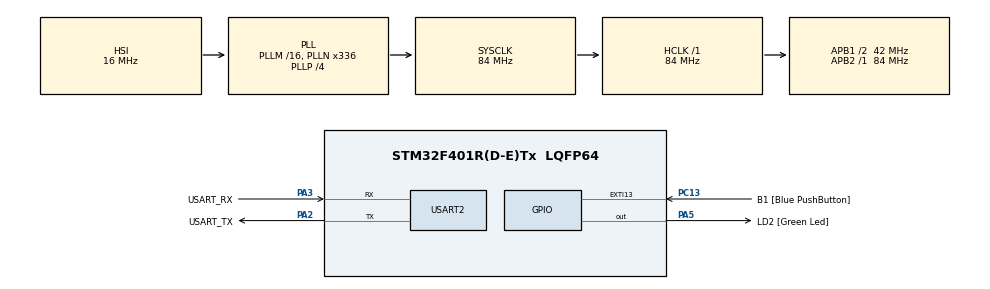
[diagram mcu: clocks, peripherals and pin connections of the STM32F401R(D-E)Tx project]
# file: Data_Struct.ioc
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Mcu.Family=STM32F4
Mcu.Name=STM32F401R(D-E)Tx
Mcu.Package=LQFP64
NVIC.PriorityGroup=NVIC_PRIORITYGROUP_0
NVIC.USART2_IRQn=true\:0\:0\:false\:false\:true
PA13.GPIO_Label=TMS
PA13.Signal=SYS_JTMS-SWDIO
PA14.GPIO_Label=TCK
PA14.Signal=SYS_JTCK-SWCLK
PA2.GPIO_Label=USART_TX
PA2.GPIO_Mode=GPIO_MODE_AF_PP
PA2.GPIO_PuPd=GPIO_NOPULL
PA2.GPIO_Speed=GPIO_SPEED_FREQ_LOW
PA2.Mode=Multiprocessor_communication
PA2.Signal=USART2_TX
PA3.GPIO_Label=USART_RX
PA3.GPIO_Mode=GPIO_MODE_AF_PP
PA3.GPIO_PuPd=GPIO_NOPULL
PA3.GPIO_Speed=GPIO_SPEED_FREQ_LOW
PA3.Mode=Multiprocessor_communication
PA3.Signal=USART2_RX
PA5.GPIO_Label=LD2 [Green Led]
PA5.GPIO_Mode=GPIO_MODE_OUTPUT_PP
PA5.GPIO_PuPd=GPIO_NOPULL
PA5.GPIO_Speed=GPIO_SPEED_FREQ_LOW
PA5.Signal=GPIO_Output
PB3.GPIO_Label=SWO
PB3.Signal=SYS_JTDO-SWO
PC13-ANTI_TAMP.GPIO_Label=B1 [Blue PushButton]
PC13-ANTI_TAMP.GPIO_ModeDefaultEXTI=GPIO_MODE_IT_FALLING
PC13-ANTI_TAMP.GPIO_PuPd=GPIO_NOPULL
PC13-ANTI_TAMP.Signal=GPXTI13
PC14-OSC32_IN.Signal=RCC_OSC32_IN
PC15-OSC32_OUT.Signal=RCC_OSC32_OUT
PH0\ -\ OSC_IN.Signal=RCC_OSC_IN
PH1\ -\ OSC_OUT.Signal=RCC_OSC_OUT
ProjectManager.HeapSize=0x200
ProjectManager.StackSize=0x400
ProjectManager.TargetToolchain=MDK-ARM V5
RCC.AHBFreq_Value=84000000
RCC.APB1CLKDivider=RCC_HCLK_DIV2
RCC.APB1Freq_Value=42000000
RCC.APB1TimFreq_Value=84000000
RCC.APB2Freq_Value=84000000
RCC.APB2TimFreq_Value=84000000
RCC.CortexFreq_Value=84000000
RCC.HCLKFreq_Value=84000000
RCC.HSE_VALUE=8000000
RCC.HSI_VALUE=16000000
RCC.LSE_VALUE=32768
RCC.PLLN=336
RCC.PLLP=RCC_PLLP_DIV4
RCC.PLLQ=7
RCC.SYSCLKFreq_VALUE=84000000
RCC.SYSCLKSource=RCC_SYSCLKSOURCE_PLLCLK
RCC.VCOOutputFreq_Value=336000000
USART2.VirtualMode=VM_ASYNC
board=NUCLEO-F401RE

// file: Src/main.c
/**
  ******************************************************************************
  * File Name          : main.c
  * Description        : Main program body
  ******************************************************************************
  ** This notice applies to any and all portions of this file
  * that are not between comment pairs USER CODE BEGIN and
  * USER CODE END. Other portions of this file, whether
  * inserted by the user or by software development tools
  * are owned by their respective copyright owners.
  *
  * COPYRIGHT(c) 2017 STMicroelectronics
  *
  * Redistribution and use in source and binary forms, with or without modification,
  * are permitted provided that the following conditions are met:
  *   1. Redistributions of source code must retain the above copyright notice,
  *      this list of conditions and the following disclaimer.
  *   2. Redistributions in binary form must reproduce the above copyright notice,
  *      this list of conditions and the following disclaimer in the documentation
  *      and/or other materials provided with the distribution.
  *   3. Neither the name of STMicroelectronics nor the names of its contributors
  *      may be used to endorse or promote products derived from this software
  *      without specific prior written permission.
  *
  * THIS SOFTWARE IS PROVIDED BY THE COPYRIGHT HOLDERS AND CONTRIBUTORS "AS IS"
  * AND ANY EXPRESS OR IMPLIED WARRANTIES, INCLUDING, BUT NOT LIMITED TO, THE
  * IMPLIED WARRANTIES OF MERCHANTABILITY AND FITNESS FOR A PARTICULAR PURPOSE ARE
  * DISCLAIMED. IN NO EVENT SHALL THE COPYRIGHT HOLDER OR CONTRIBUTORS BE LIABLE
  * FOR ANY DIRECT, INDIRECT, INCIDENTAL, SPECIAL, EXEMPLARY, OR CONSEQUENTIAL
  * DAMAGES (INCLUDING, BUT NOT LIMITED TO, PROCUREMENT OF SUBSTITUTE GOODS OR
  * SERVICES; LOSS OF USE, DATA, OR PROFITS; OR BUSINESS INTERRUPTION) HOWEVER
  * CAUSED AND ON ANY THEORY OF LIABILITY, WHETHER IN CONTRACT, STRICT LIABILITY,
  * OR TORT (INCLUDING NEGLIGENCE OR OTHERWISE) ARISING IN ANY WAY OUT OF THE USE
  * OF THIS SOFTWARE, EVEN IF ADVISED OF THE POSSIBILITY OF SUCH DAMAGE.
  *
  ******************************************************************************
  */
#include "main.h"
#include "stm32f4xx_hal.h"

/* USER CODE BEGIN Includes */
#include "sys.h"
#include "data_struct.h"
#include "receive_handle.h"
#include "cmd_control.h"
/* USER CODE END Includes */

UART_HandleTypeDef huart2;
SqList L1,L2,L3;

extern SqList List;

/* USER CODE BEGIN PV */
/* Private variables ---------------------------------------------------------*/

/* USER CODE END PV */

void SystemClock_Config(void);
static void MX_GPIO_Init(void);
static void MX_USART2_UART_Init(void);

/* USER CODE BEGIN PFP */
/* Private function prototypes -----------------------------------------------*/

/* USER CODE END PFP */

int main(void)
{

  /* MCU Configuration----------------------------------------------------------*/

  /* Reset of all peripherals, Initializes the Flash interface and the Systick. */
  HAL_Init();

  /* Configure the system clock */
  SystemClock_Config();

  /* Initialize all configured peripherals */
  MX_GPIO_Init();
  MX_USART2_UART_Init();

  /* USER CODE BEGIN 2 */
	__HAL_UART_ENABLE_IT(&huart2, UART_IT_RXNE);    //打开USART2中断时钟
  printf("\
		 \r\n----------------------------------------\
	   \r\n* This is a project to learn           *\
		 \r\n* data_struct  of stm32f401            *\
		 \r\n----------------------------------------\
		 \r\n\
		    ");
  /* USER CODE END 2 */

  /* Infinite loop */
  /* USER CODE BEGIN WHILE */
	CommCtrlInit();
	InitList_Sq(&L1);
	InitList_Sq(&L2);

  while (1)
  {
  /* USER CODE END WHILE */
  DataReceiveSyntaxHandle(0x02);
  }

}

/** System Clock Configuration
*/
void SystemClock_Config(void)
{

  RCC_OscInitTypeDef RCC_OscInitStruct;
  RCC_ClkInitTypeDef RCC_ClkInitStruct;

    /**Configure the main internal regulator output voltage
    */
  __HAL_RCC_PWR_CLK_ENABLE();

  __HAL_PWR_VOLTAGESCALING_CONFIG(PWR_REGULATOR_VOLTAGE_SCALE2);

    /**Initializes the CPU, AHB and APB busses clocks
    */
  RCC_OscInitStruct.OscillatorType = RCC_OSCILLATORTYPE_HSI;
  RCC_OscInitStruct.HSIState = RCC_HSI_ON;
  RCC_OscInitStruct.HSICalibrationValue = 16;
  RCC_OscInitStruct.PLL.PLLState = RCC_PLL_ON;
  RCC_OscInitStruct.PLL.PLLSource = RCC_PLLSOURCE_HSI;
  RCC_OscInitStruct.PLL.PLLM = 16;
  RCC_OscInitStruct.PLL.PLLN = 336;
  RCC_OscInitStruct.PLL.PLLP = RCC_PLLP_DIV4;
  RCC_OscInitStruct.PLL.PLLQ = 7;
  if (HAL_RCC_OscConfig(&RCC_OscInitStruct) != HAL_OK)
  {
    _Error_Handler(__FILE__, __LINE__);
  }

    /**Initializes the CPU, AHB and APB busses clocks
    */
  RCC_ClkInitStruct.ClockType = RCC_CLOCKTYPE_HCLK|RCC_CLOCKTYPE_SYSCLK
                              |RCC_CLOCKTYPE_PCLK1|RCC_CLOCKTYPE_PCLK2;
  RCC_ClkInitStruct.SYSCLKSource = RCC_SYSCLKSOURCE_PLLCLK;
  RCC_ClkInitStruct.AHBCLKDivider = RCC_SYSCLK_DIV1;
  RCC_ClkInitStruct.APB1CLKDivider = RCC_HCLK_DIV2;
  RCC_ClkInitStruct.APB2CLKDivider = RCC_HCLK_DIV1;

  if (HAL_RCC_ClockConfig(&RCC_ClkInitStruct, FLASH_LATENCY_2) != HAL_OK)
  {
    _Error_Handler(__FILE__, __LINE__);
  }

    /**Configure the Systick interrupt time
    */
  HAL_SYSTICK_Config(HAL_RCC_GetHCLKFreq()/1000);

    /**Configure the Systick
    */
  HAL_SYSTICK_CLKSourceConfig(SYSTICK_CLKSOURCE_HCLK);

  /* SysTick_IRQn interrupt configuration */
  HAL_NVIC_SetPriority(SysTick_IRQn, 0, 0);
}

/* USART2 init function */
static void MX_USART2_UART_Init(void)
{

  huart2.Instance = USART2;
  huart2.Init.BaudRate = 115200;
  huart2.Init.WordLength = UART_WORDLENGTH_8B;
  huart2.Init.StopBits = UART_STOPBITS_1;
  huart2.Init.Parity = UART_PARITY_NONE;
  huart2.Init.Mode = UART_MODE_TX_RX;
  huart2.Init.HwFlowCtl = UART_HWCONTROL_NONE;
  huart2.Init.OverSampling = UART_OVERSAMPLING_16;
  if (HAL_MultiProcessor_Init(&huart2, 0, UART_WAKEUPMETHOD_IDLELINE) != HAL_OK)
  {
    _Error_Handler(__FILE__, __LINE__);
  }

}

/** Configure pins as
        * Analog
        * Input
        * Output
        * EVENT_OUT
        * EXTI
*/
static void MX_GPIO_Init(void)
{

  GPIO_InitTypeDef GPIO_InitStruct;

  /* GPIO Ports Clock Enable */
  __HAL_RCC_GPIOC_CLK_ENABLE();
  __HAL_RCC_GPIOH_CLK_ENABLE();
  __HAL_RCC_GPIOA_CLK_ENABLE();
  __HAL_RCC_GPIOB_CLK_ENABLE();

  /*Configure GPIO pin Output Level */
  HAL_GPIO_WritePin(LD2_GPIO_Port, LD2_Pin, GPIO_PIN_RESET);

  /*Configure GPIO pin : B1_Pin */
  GPIO_InitStruct.Pin = B1_Pin;
  GPIO_InitStruct.Mode = GPIO_MODE_IT_FALLING;
  GPIO_InitStruct.Pull = GPIO_NOPULL;
  HAL_GPIO_Init(B1_GPIO_Port, &GPIO_InitStruct);

  /*Configure GPIO pin : LD2_Pin */
  GPIO_InitStruct.Pin = LD2_Pin;
  GPIO_InitStruct.Mode = GPIO_MODE_OUTPUT_PP;
  GPIO_InitStruct.Pull = GPIO_NOPULL;
  GPIO_InitStruct.Speed = GPIO_SPEED_FREQ_LOW;
  HAL_GPIO_Init(LD2_GPIO_Port, &GPIO_InitStruct);

}

void _Error_Handler(char * file, int line)
{
  while(1)
  {
  }
}

/************************ (C) COPYRIGHT STMicroelectronics *****END OF FILE****/
